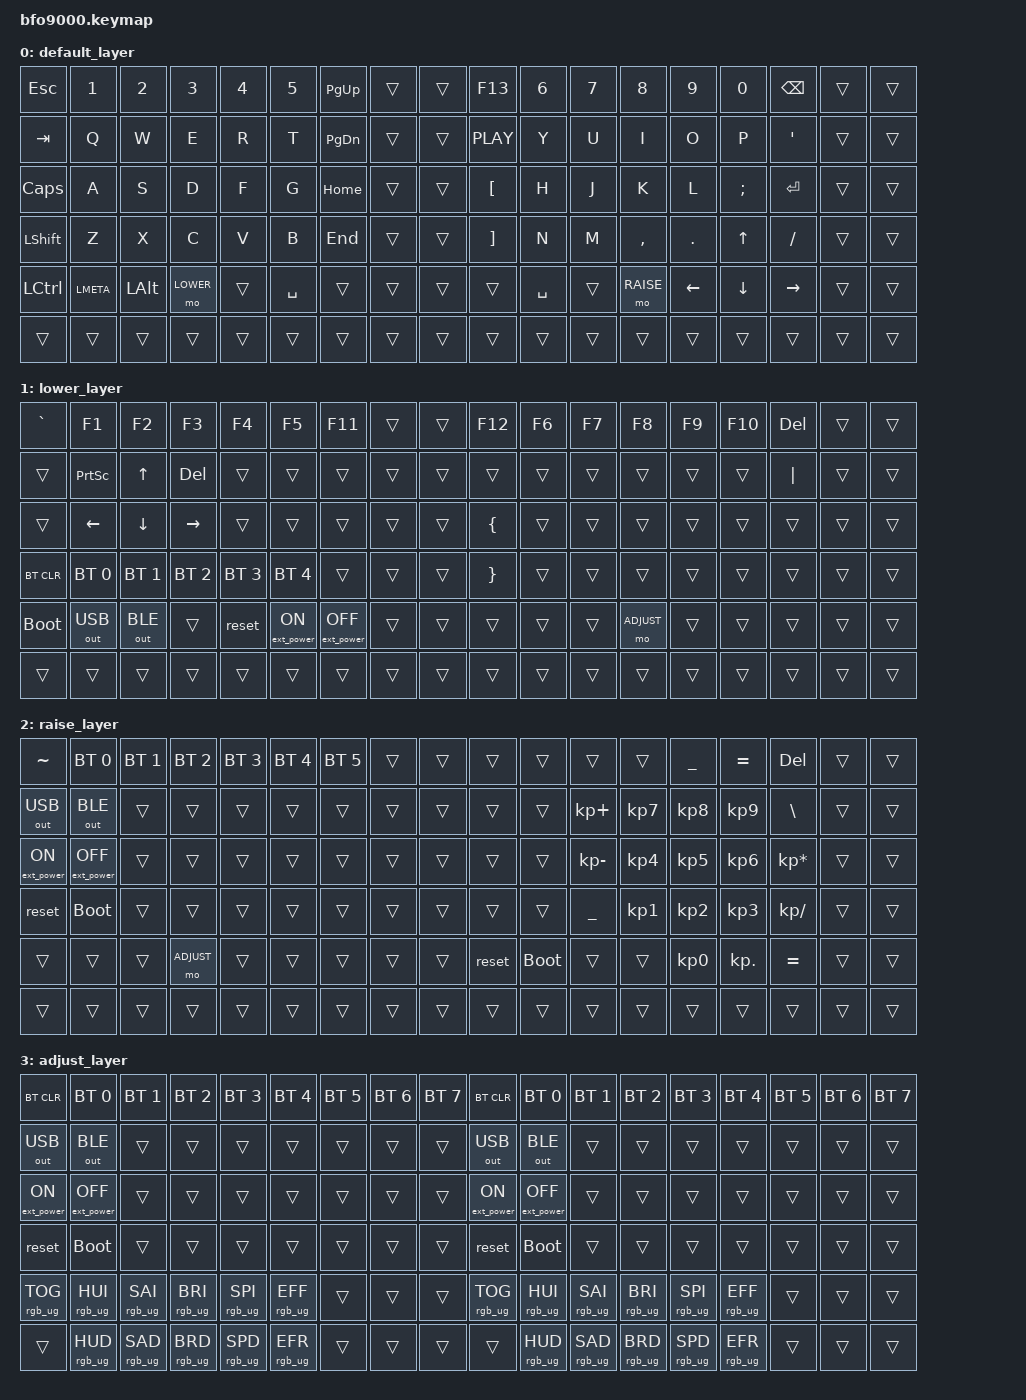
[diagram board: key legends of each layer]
/*
 * Copyright (c) 2020 The ZMK Contributors
 *
 * SPDX-License-Identifier: MIT
 */

#include <behaviors.dtsi>
#include <dt-bindings/zmk/keys.h>
#include <dt-bindings/zmk/bt.h>
#include <dt-bindings/zmk/outputs.h>
#include <dt-bindings/zmk/ext_power.h>
#include <dt-bindings/zmk/rgb.h>

#define DEFAULT 0
#define LOWER   1
#define RAISE   2
#define ADJUST  3

/ {
	keymap {
		compatible = "zmk,keymap";

		default_layer {
			// | Esc   | Vol Up | Esc   | F1   | F2  | F3  | F4  | F5  | F6    | F5     | F6  | F7  | F8  | F9  | F10  | F11   | F12   | Del    |
			// | Home  | Vol Dn | `     | 1    | 2   | 3   | 4   | 5   | 6     | 5      | 6   | 7   | 8   | 9   | 0    | -     | =     | Bk Spc |
			// | End   | Tab    | Tab   | Q    | W   | E   | R   | T   | Y     | T      | Y   | U   | I   | O   | P    | [     | ]     | \      |
			// | Pg Up | Caps   | Ctrl  | A    | S   | D   | F   | G   | H     | G      | H   | J   | K   | L   | ;    | '     | Enter | Enter  |
			// | Pg Dn | Up     | Shift | Z    | X   | C   | V   | B   | N     | B      | N   | M   | ,   | .   | /    | Shift | Up    |        |
			// | Left  | Dn     | Right | Ctrl | Alt | Win | Spc | Spc | Enter | Bk Spc | Spc | Spc | Win | Alt | Ctrl | Left  | Dn    | Right  |
			bindings = <
			&kp ESC    &kp N1     &kp N2     &kp N3     &kp N4     &kp N5     &kp PG_UP  &trans  &trans     &kp F13      &kp N6     &kp N7     &kp N8     &kp N9     &kp N0     &kp BSPC   &trans     &trans       
			&kp TAB    &kp Q      &kp W      &kp E      &kp R      &kp T      &kp PG_DN  &trans  &trans     &kp C_PLAY   &kp Y      &kp U      &kp I      &kp O      &kp P      &kp APOS   &trans     &trans       
			&kp CAPS   &kp A      &kp S      &kp D      &kp F      &kp G      &kp HOME   &trans  &trans     &kp LBKT     &kp H      &kp J      &kp K      &kp L      &kp SEMI   &kp ENTER  &trans     &trans       
			&kp LSHFT  &kp Z      &kp X      &kp C      &kp V      &kp B      &kp END    &trans  &trans     &kp RBKT     &kp N      &kp M      &kp COMMA  &kp DOT    &kp UP     &kp SLASH  &trans     &trans       
			&kp LCTRL  &kp LMETA  &kp LALT   &mo LOWER  &trans     &kp SPACE  &trans     &trans  &trans     &trans       &kp SPACE  &trans     &mo RAISE  &kp LEFT   &kp DOWN   &kp RIGHT  &trans     &trans       
			&trans     &trans     &trans     &trans     &trans     &trans     &trans     &trans  &trans     &trans       &trans     &trans     &trans     &trans     &trans     &trans     &trans     &trans       
			>;
		};

		lower_layer {
			bindings = <
			&kp GRAVE   &kp F1        &kp F2        &kp F3        &kp F4            &kp F5             &kp F11    &trans  &trans     &kp F12    &kp F6     &kp F7     &kp F8     &kp F9      &kp F10     &kp DEL    &trans  &trans     
			&trans      &kp PSCRN     &kp UP        &kp DEL       &trans            &trans             &trans     &trans  &trans     &trans     &trans     &trans     &trans     &trans      &trans      &kp PIPE   &trans  &trans     
			&trans      &kp LEFT      &kp DOWN      &kp RIGHT     &trans            &trans             &trans     &trans  &trans     &kp LBRC   &trans     &trans     &trans     &trans      &trans      &trans     &trans  &trans	
			&bt BT_CLR  &bt BT_SEL 0  &bt BT_SEL 1  &bt BT_SEL 2  &bt BT_SEL 3      &bt BT_SEL 4       &trans     &trans  &trans     &kp RBRC   &trans     &trans     &trans     &trans      &trans      &trans     &trans  &trans
			&bootloader &out OUT_USB  &out OUT_BLE  &trans        &reset     &ext_power EP_ON  &ext_power EP_OFF  &trans  &trans     &trans     &trans     &trans     &mo ADJUST &trans      &trans      &trans     &trans  &trans
			&trans      &trans        &trans        &trans        &trans            &trans             &trans     &trans  &trans     &trans     &trans     &trans     &trans     &trans      &trans      &trans     &trans  &trans
			>;
		};
		
		raise_layer {
			bindings = <
			&kp TILDE        &bt BT_SEL 0      &bt BT_SEL 1 &bt BT_SEL 2 &bt BT_SEL 3 &bt BT_SEL 4 &bt BT_SEL 5 &trans  &trans     &trans     &trans     &trans     &trans     &kp UNDER  &kp EQUAL  &kp DEL    &trans     &trans
			&out OUT_USB     &out OUT_BLE      &trans       &trans       &trans       &trans       &trans       &trans  &trans     &trans     &trans  &kp KP_PLUS   &kp KP_N7  &kp KP_N8  &kp KP_N9  &kp BSLH   &trans     &trans
			&ext_power EP_ON &ext_power EP_OFF &trans       &trans       &trans       &trans       &trans       &trans  &trans     &trans     &trans  &kp KP_MINUS  &kp KP_N4  &kp KP_N5  &kp KP_N6  &kp KP_MULTIPLY  &trans     &trans
			&reset           &bootloader       &trans       &trans       &trans       &trans       &trans       &trans  &trans     &trans     &trans  &kp UNDER     &kp KP_N1  &kp KP_N2  &kp KP_N3  &kp KP_DIVIDE    &trans     &trans       
			&trans           &trans            &trans       &mo ADJUST   &trans       &trans       &trans       &trans  &trans     &reset   &bootloader  &trans     &trans     &kp KP_N0  &kp KP_DOT &kp EQUAL     &trans     &trans       
			&trans           &trans            &trans       &trans       &trans       &trans       &trans       &trans  &trans     &trans     &trans     &trans     &trans     &trans     &trans     &trans     &trans     &trans
			>;
		};
		
		adjust_layer {
			bindings = <
			&bt BT_CLR       &bt BT_SEL 0      &bt BT_SEL 1    &bt BT_SEL 2    &bt BT_SEL 3    &bt BT_SEL 4    &bt BT_SEL 5 &bt BT_SEL 6 &bt BT_SEL 7 &bt BT_CLR       &bt BT_SEL 0      &bt BT_SEL 1    &bt BT_SEL 2    &bt BT_SEL 3    &bt BT_SEL 4    &bt BT_SEL 5 &bt BT_SEL 6 &bt BT_SEL 7
			&out OUT_USB     &out OUT_BLE      &trans          &trans          &trans          &trans          &trans       &trans       &trans       &out OUT_USB     &out OUT_BLE      &trans          &trans          &trans          &trans          &trans       &trans       &trans
			&ext_power EP_ON &ext_power EP_OFF &trans          &trans          &trans          &trans          &trans       &trans       &trans       &ext_power EP_ON &ext_power EP_OFF &trans          &trans          &trans          &trans          &trans       &trans       &trans
			&reset           &bootloader       &trans          &trans          &trans          &trans          &trans       &trans       &trans       &reset           &bootloader       &trans          &trans          &trans          &trans          &trans       &trans       &trans
			&rgb_ug RGB_TOG  &rgb_ug RGB_HUI   &rgb_ug RGB_SAI &rgb_ug RGB_BRI &rgb_ug RGB_SPI &rgb_ug RGB_EFF &trans       &trans       &trans       &rgb_ug RGB_TOG  &rgb_ug RGB_HUI   &rgb_ug RGB_SAI &rgb_ug RGB_BRI &rgb_ug RGB_SPI &rgb_ug RGB_EFF &trans       &trans       &trans
			&trans           &rgb_ug RGB_HUD   &rgb_ug RGB_SAD &rgb_ug RGB_BRD &rgb_ug RGB_SPD &rgb_ug RGB_EFR &trans       &trans       &trans       &trans           &rgb_ug RGB_HUD   &rgb_ug RGB_SAD &rgb_ug RGB_BRD &rgb_ug RGB_SPD &rgb_ug RGB_EFR &trans       &trans       &trans
			>;
		};
	};
};
